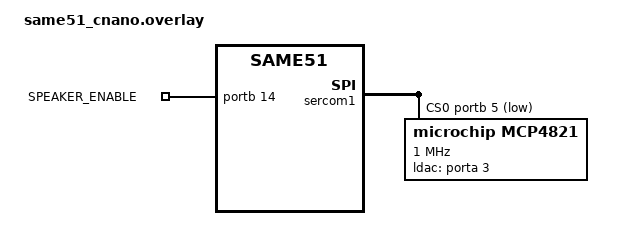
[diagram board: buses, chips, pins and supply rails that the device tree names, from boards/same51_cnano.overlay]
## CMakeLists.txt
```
# SPDX-License-Identifier: Apache-2.0
cmake_minimum_required(VERSION 3.20.0)

# Out-of-tree binding: <app>/dts/bindings/microchip,mcp4821.yaml.
# Zephyr searches <DTS_ROOT>/dts/bindings; the application directory is a
# DTS root by default. Appending it explicitly (before find_package) is
# harmless (DTS_ROOT is de-duplicated) and documents the dependency.
list(APPEND DTS_ROOT ${CMAKE_CURRENT_SOURCE_DIR})

find_package(Zephyr REQUIRED HINTS $ENV{ZEPHYR_BASE})
project(cnano_explorer_speaker_test)

target_sources(app PRIVATE
  src/main.c
  src/dac_mcp4821.c
)
```

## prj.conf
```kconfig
CONFIG_PRINTK=y
CONFIG_GPIO=y
CONFIG_SPI=y
CONFIG_DAC=y
# Out-of-tree driver uses CONFIG_DAC_INIT_PRIORITY and CONFIG_DAC_LOG_LEVEL,
# both defined by Zephyr's drivers/dac/Kconfig when CONFIG_DAC=y.
CONFIG_LOG=y
CONFIG_DAC_LOG_LEVEL_INF=y
```

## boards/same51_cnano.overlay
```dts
/*
 * SAME51 Curiosity Nano + Curiosity Nano Explorer: MCP4821 speaker DAC.
 * Source: Curiosity-Nano-Explorer-Pinouts.pdf (SAM E51 page):
 *   SPI MOSI = PA16 (SERCOM1 PAD0), SPI SCK = PA17 (SERCOM1 PAD1),
 *   SPI MISO = PA19 (SERCOM1 PAD3), IO 26 DAC CS = PB05,
 *   IO 36 DAC LDAC = PA03, IO 12 SPEAKER ENABLE = PB14,
 *   console CDC = SERCOM5 (PB16/PB17).
 * Pinmux macros from hal_microchip atsame51j20a-pinctrl.h (assumed already
 * included by the board's pinctrl dtsi; if not, add
 * #include <dt-bindings/sam/sam_d5x_e5x/atsame51/atsame51j20a-pinctrl.h>).
 * Compatible "microchip,sercom-g1-spi" as in upstream sam_e54_xpro.dts.
 * If your branch still uses the legacy SAM0 driver, use "atmel,sam0-spi".
 */

#include <zephyr/dt-bindings/gpio/gpio.h>

&pinctrl {
	sercom1_spi_default: sercom1_spi_default {
		group1 {
			pinmux = <PA16C_SERCOM1_PAD0>, /* MOSI */
				 <PA17C_SERCOM1_PAD1>, /* SCK  */
				 <PA19C_SERCOM1_PAD3>; /* MISO (unused by DAC, shared bus) */
		};
	};
};

&sercom1 {
	compatible = "microchip,sercom-g1-spi";
	status = "okay";
	#address-cells = <1>;
	#size-cells = <0>;
	dipo = <3>;
	dopo = <0>;
	pinctrl-0 = <&sercom1_spi_default>;
	pinctrl-names = "default";
	cs-gpios = <&portb 5 GPIO_ACTIVE_LOW>; /* IO 26 DAC CS */

	mcp4821: dac@0 {
		compatible = "microchip,mcp4821";
		reg = <0>;
		spi-max-frequency = <1000000>;
		#io-channel-cells = <1>;
		gain-1x;
		/* Driven to physical LOW at init (inactive with ACTIVE_HIGH flag). */
		ldac-gpios = <&porta 3 GPIO_ACTIVE_HIGH>; /* IO 36 DAC LDAC */
	};
};

/ {
	speaker_ctrl {
		compatible = "gpio-leds";
		speaker_en: speaker_en {
			gpios = <&portb 14 GPIO_ACTIVE_HIGH>; /* IO 12 SPEAKER ENABLE */
			label = "SPEAKER_ENABLE";
		};
	};

	aliases {
		speaker-dac = &mcp4821;
		speaker-enable = &speaker_en;
	};
};
```

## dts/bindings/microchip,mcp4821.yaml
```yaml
# SPDX-License-Identifier: Apache-2.0

description: |
  Microchip MCP4821 single-channel 12-bit SPI DAC with internal 2.048 V reference.
  Write-only device (no MISO). One channel (0).

compatible: "microchip,mcp4821"

include: [dac-controller.yaml, spi-device.yaml]

properties:
  "#io-channel-cells":
    const: 1

  ldac-gpios:
    type: phandle-array
    description: |
      Optional LDAC pin. The driver drives it to the physical LOW level at
      init so the output latches on every CS rising edge. Specify it with
      GPIO_ACTIVE_HIGH so "inactive" == physical low. If omitted, LDAC
      must be held low in hardware.

  gain-1x:
    type: boolean
    description: |
      Select GA=1 (1x gain, 2.048 V full scale). If absent, GA=0 (2x gain,
      4.096 V full scale, clipped at VDD = 3.3 V on the Explorer).
```

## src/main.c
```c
/*
 * Curiosity Nano Explorer speaker test: MCP4821 DAC -> Class-D amp -> 8 ohm speaker.
 * Alternates 440 Hz / 880 Hz square waves (~500 ms each) forever.
 * Pattern follows samples/drivers/dac/src/main.c.
 *
 * Timing note: half-periods use k_busy_wait() plus SPI-write overhead, so the
 * pitch will be slightly flat. k_busy_wait() accuracy depends on
 * CONFIG_SYS_CLOCK_HW_CYCLES_PER_SEC being correct for the board.
 *
 * SPDX-License-Identifier: Apache-2.0
 */

#include <zephyr/kernel.h>
#include <zephyr/sys/printk.h>
#include <zephyr/drivers/dac.h>
#include <zephyr/drivers/gpio.h>

#define DAC_NODE        DT_ALIAS(speaker_dac)
#define SPK_EN_NODE     DT_ALIAS(speaker_enable)
#define DAC_CHANNEL_ID  0
#define DAC_RESOLUTION  12

#if !DT_NODE_HAS_STATUS(DAC_NODE, okay)
#error "speaker-dac alias missing: use boards/<board>.overlay"
#endif

#define DAC_HIGH  3072U /* 75 % of 4096 */
#define DAC_LOW   1024U /* 25 % of 4096 */
#define DAC_MID   2048U
#define TONE_MS   500U

static const struct device *const dac_dev = DEVICE_DT_GET(DAC_NODE);

#if DT_NODE_EXISTS(SPK_EN_NODE)
static const struct gpio_dt_spec spk_en = GPIO_DT_SPEC_GET(SPK_EN_NODE, gpios);
#endif

static const struct dac_channel_cfg dac_ch_cfg = {
	.channel_id = DAC_CHANNEL_ID,
	.resolution = DAC_RESOLUTION,
	.buffered = true,
};

static int play_tone(uint32_t freq_hz, uint32_t duration_ms)
{
	const uint32_t half_us = 1000000U / (2U * freq_hz); /* 440 -> 1136, 880 -> 568 */
	const uint32_t cycles = (duration_ms * 1000U) / (2U * half_us); /* ~220 / ~440 */
	int ret;

	for (uint32_t i = 0; i < cycles; i++) {
		ret = dac_write_value(dac_dev, DAC_CHANNEL_ID, DAC_HIGH);
		if (ret) {
			return ret;
		}
		k_busy_wait(half_us);
		ret = dac_write_value(dac_dev, DAC_CHANNEL_ID, DAC_LOW);
		if (ret) {
			return ret;
		}
		k_busy_wait(half_us);
	}
	return 0;
}

int main(void)
{
	int ret;

	printk("CNANO Explorer MCP4821 speaker test\n");

#if DT_NODE_EXISTS(SPK_EN_NODE)
	/* UNVERIFIED whether IO 12 must be driven or the amp is enabled by
	 * hardware alone; drive it HIGH to be safe.
	 */
	if (!gpio_is_ready_dt(&spk_en)) {
		printk("speaker-enable GPIO not ready\n");
		return 0;
	}
	ret = gpio_pin_configure_dt(&spk_en, GPIO_OUTPUT_ACTIVE);
	if (ret) {
		printk("speaker-enable configure failed: %d\n", ret);
		return 0;
	}
	printk("SPEAKER_ENABLE (IO 12) driven HIGH\n");
#endif

	if (!device_is_ready(dac_dev)) {
		printk("DAC device %s is not ready\n", dac_dev->name);
		return 0;
	}

	ret = dac_channel_setup(dac_dev, &dac_ch_cfg);
	if (ret) {
		printk("dac_channel_setup failed: %d\n", ret);
		return 0;
	}
	(void)dac_write_value(dac_dev, DAC_CHANNEL_ID, DAC_MID);

	while (1) {
		printk("Tone: 440 Hz\n");
		ret = play_tone(440, TONE_MS);
		if (ret) {
			break;
		}
		printk("Tone: 880 Hz\n");
		ret = play_tone(880, TONE_MS);
		if (ret) {
			break;
		}
	}

	printk("dac_write_value failed: %d\n", ret);
	return 0;
}
```

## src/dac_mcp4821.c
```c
/*
 * Out-of-tree Zephyr DAC driver for the Microchip MCP4821 (12-bit, 1 channel, SPI).
 * Modelled on upstream drivers/dac/dac_ltc166x.c.
 *
 * Frame (16 bit, MSB first, SPI mode 0):
 *   b15 = 0 (write), b14 = x, b13 = GA (1 = 1x/2.048 V, 0 = 2x/4.096 V),
 *   b12 = SHDN (1 = active), b11..b0 = data.
 *
 * SPDX-License-Identifier: Apache-2.0
 */

#define DT_DRV_COMPAT microchip_mcp4821

#include <zephyr/kernel.h>
#include <zephyr/device.h>
#include <zephyr/drivers/dac.h>
#include <zephyr/drivers/spi.h>
#include <zephyr/drivers/gpio.h>
#include <zephyr/sys/util.h>
#include <zephyr/logging/log.h>

LOG_MODULE_REGISTER(dac_mcp4821, CONFIG_DAC_LOG_LEVEL);

#define MCP4821_RESOLUTION 12
#define MCP4821_NCHANNELS  1
#define MCP4821_GA_1X      BIT(13)
#define MCP4821_SHDN_ON    BIT(12)
#define MCP4821_DATA_MASK  GENMASK(11, 0)

struct mcp4821_config {
        struct spi_dt_spec bus;
        struct gpio_dt_spec ldac;
        bool gain_1x;
};

static int mcp4821_channel_setup(const struct device *dev,
                                 const struct dac_channel_cfg *cfg)
{
        ARG_UNUSED(dev);

        if (cfg->channel_id >= MCP4821_NCHANNELS) {
                LOG_ERR("Unsupported channel %d", cfg->channel_id);
                return -ENOTSUP;
        }
        if (cfg->resolution != MCP4821_RESOLUTION) {
                LOG_ERR("Unsupported resolution %d", cfg->resolution);
                return -ENOTSUP;
        }
        if (cfg->internal) {
                LOG_ERR("Internal channels not supported");
                return -ENOTSUP;
        }
        /* Output is always buffered by the MCP4821's own amplifier; ignore cfg->buffered. */
        return 0;
}

static int mcp4821_write_value(const struct device *dev, uint8_t channel, uint32_t value)
{
        const struct mcp4821_config *config = dev->config;

        if (channel >= MCP4821_NCHANNELS) {
                return -ENOTSUP;
        }
        if (value > MCP4821_DATA_MASK) {
                return -EINVAL;
        }

        uint16_t frame = MCP4821_SHDN_ON | (uint16_t)(value & MCP4821_DATA_MASK);

        if (config->gain_1x) {
                frame |= MCP4821_GA_1X;
        }

        /* Two 8-bit words, MSB byte first (endianness-independent). */
        uint8_t tx_data[2] = { frame >> 8, frame & 0xFF };
        const struct spi_buf buf = { .buf = tx_data, .len = sizeof(tx_data) };
        const struct spi_buf_set tx = { .buffers = &buf, .count = 1 };

        return spi_write_dt(&config->bus, &tx);
}

static int mcp4821_init(const struct device *dev)
{
        const struct mcp4821_config *config = dev->config;

        if (!spi_is_ready_dt(&config->bus)) {
                LOG_ERR("SPI bus %s not ready", config->bus.bus->name);
                return -ENODEV;
        }

        if (config->ldac.port != NULL) {
                if (!gpio_is_ready_dt(&config->ldac)) {
                        LOG_ERR("LDAC GPIO not ready");
                        return -ENODEV;
                }
                /* Physical LOW (flag GPIO_ACTIVE_HIGH in DT): output latches on CS rising edge. */
                int ret = gpio_pin_configure_dt(&config->ldac, GPIO_OUTPUT_INACTIVE);

                if (ret < 0) {
                        return ret;
                }
        }

        return 0;
}

static DEVICE_API(dac, mcp4821_driver_api) = {
        .channel_setup = mcp4821_channel_setup,
        .write_value = mcp4821_write_value,
};

#define MCP4821_DEFINE(n)                                                              \
        static const struct mcp4821_config mcp4821_config_##n = {                      \
                /* 2-arg form as used by upstream dac_ltc166x.c on main. On     \
                 * Zephyr <= v4.2 add a third arg: delay 0. Mode 0 = no CPOL/CPHA. */ \
                .bus = SPI_DT_SPEC_INST_GET(n,                                         \
                        SPI_OP_MODE_CONTROLLER | SPI_TRANSFER_MSB | SPI_WORD_SET(8)),  \
                .ldac = GPIO_DT_SPEC_INST_GET_OR(n, ldac_gpios, {0}),                  \
                .gain_1x = DT_INST_PROP(n, gain_1x),                                   \
        };                                                                             \
        DEVICE_DT_INST_DEFINE(n, mcp4821_init, NULL, NULL, &mcp4821_config_##n,        \
                              POST_KERNEL, CONFIG_DAC_INIT_PRIORITY,                   \
                              &mcp4821_driver_api);

DT_INST_FOREACH_STATUS_OKAY(MCP4821_DEFINE)
```
